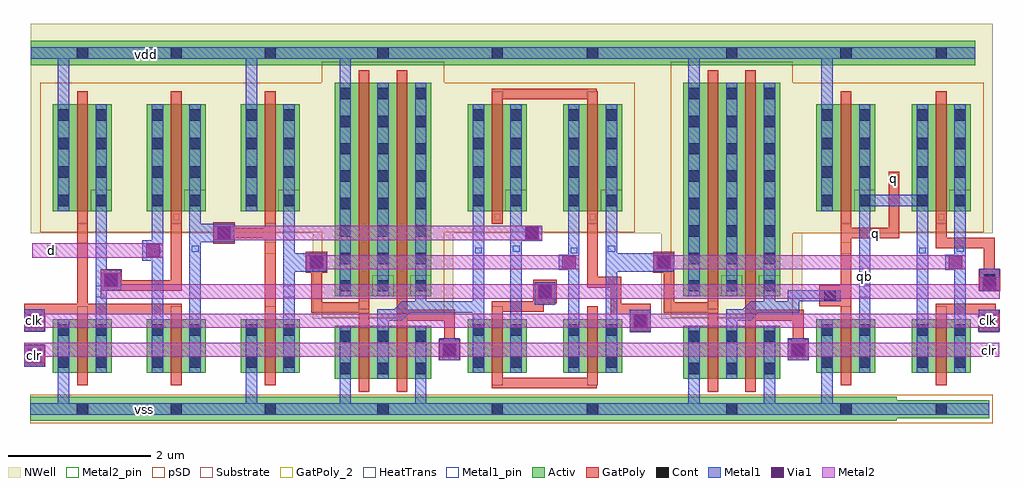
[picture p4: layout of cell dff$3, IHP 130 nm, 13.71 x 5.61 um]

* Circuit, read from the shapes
.subckt dff$3 clk clr d q qb vdd vss
XM1 transmissiongate$1$3_4/clk clk vss vss sg13_lv_nmos w=0.75u l=0.15u
XM2 inverter$1$1$3_2/in clk d vss sg13_lv_nmos w=0.75u l=0.15u
XM3 nor$4_0/b inverter$1$1$3_2/in vss vss sg13_lv_nmos w=0.75u l=0.15u
XM4 transmissiongate$2$3_5/d nor$4_0/b vss vss sg13_lv_nmos w=0.75u l=0.15u
XM5 vss clr transmissiongate$2$3_5/d vss sg13_lv_nmos w=0.75u l=0.15u
XM6 inverter$1$1$3_2/in transmissiongate$1$3_4/clk transmissiongate$2$3_5/d vss sg13_lv_nmos w=0.75u l=0.15u
XM7 nor$1$3_9/b transmissiongate$1$3_4/clk nor$4_0/b vss sg13_lv_nmos w=0.75u l=0.15u
XM8 q nor$1$3_9/b vss vss sg13_lv_nmos w=0.75u l=0.15u
XM9 vss clr q vss sg13_lv_nmos w=0.75u l=0.15u
XM10 qb q vss vss sg13_lv_nmos w=0.75u l=0.15u
XM11 nor$1$3_9/b clk qb vss sg13_lv_nmos w=0.75u l=0.15u
XM12 transmissiongate$1$3_4/clk clk vdd vdd sg13_lv_pmos w=1.5u l=0.15u
XM13 inverter$1$1$3_2/in transmissiongate$1$3_4/clk d vdd sg13_lv_pmos w=1.5u l=0.15u
XM14 nor$4_0/b inverter$1$1$3_2/in vdd vdd sg13_lv_pmos w=1.5u l=0.15u
XM15 n1 nor$4_0/b vdd vdd sg13_lv_pmos w=3u l=0.15u
XM16 transmissiongate$2$3_5/d clr n1 vdd sg13_lv_pmos w=3u l=0.15u
XM17 inverter$1$1$3_2/in clk transmissiongate$2$3_5/d vdd sg13_lv_pmos w=1.5u l=0.15u
XM18 nor$1$3_9/b clk nor$4_0/b vdd sg13_lv_pmos w=1.5u l=0.15u
XM19 n2 nor$1$3_9/b vdd vdd sg13_lv_pmos w=3u l=0.15u
XM20 q clr n2 vdd sg13_lv_pmos w=3u l=0.15u
XM21 qb q vdd vdd sg13_lv_pmos w=1.5u l=0.15u
XM22 nor$1$3_9/b transmissiongate$1$3_4/clk qb vdd sg13_lv_pmos w=1.5u l=0.15u
.ends

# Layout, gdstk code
from math import pi, radians
import gdstk
lib = gdstk.Library(unit=1e-6, precision=5e-09)
def R(c, l, rs):  # rectangles x0, y0, x1, y1
    for r in rs: c.add(gdstk.rectangle(r[:2], r[2:], *l))
def A(c, l, x, y, w, h, nx, ny, dx, dy):  # array of equal rectangles
    R(c, l, [(x+i*dx, y+j*dy, x+i*dx+w, y+j*dy+h) for i in range(nx) for j in range(ny)])
def P(c, l, *ps):  # polygons
    for p in ps: c.add(gdstk.Polygon(p, *l))
Activ = (1, 0)
GatPoly = (5, 0)
GatPoly_2 = (5, 2)
Cont = (6, 0)
Metal1 = (8, 0)
Metal1_pin = (8, 2)
Metal2 = (10, 0)
Metal2_pin = (10, 2)
pSD = (14, 0)
Via1 = (19, 0)
NWell = (31, 0)
Substrate = (40, 0)
HeatTrans = (51, 0)

pmos_1_4_3 = lib.new_cell('pmos$1$4$3')
R(pmos_1_4_3, Activ, [(0,0,0.3,0.3), (0,0,0.83,3), (0.53,0,0.83,0.3)])
R(pmos_1_4_3, GatPoly, [(0.34,-0.18,0.49,3.18), (0.34,-0.18,0.49,3.18)])
A(pmos_1_4_3, Cont, 0.07, 0.07, 0.16, 0.16, 1, 7, 0, 0.385)
A(pmos_1_4_3, Cont, 0.6, 0.07, 0.16, 0.16, 1, 7, 0, 0.385)
R(pmos_1_4_3, Cont, [(0.07,2.77,0.23,2.93), (0.6,2.77,0.76,2.93)])
R(pmos_1_4_3, Metal1, [(0.07,0,0.23,3), (0.07,0,0.23,3), (0.6,0,0.76,3), (0.6,0,0.76,3)])
R(pmos_1_4_3, pSD, [(-0.18,-0.3,1.01,3.3)])
R(pmos_1_4_3, NWell, [(-0.31,-0.31,1.14,3.31)])
R(pmos_1_4_3, Substrate, [(0.53,0,0.83,0.3)])
R(pmos_1_4_3, HeatTrans, [(0.34,-0.18,0.49,3.18)])
pmos_1_4_3.add(gdstk.Label('pmos', (0.415,1.5), layer=63, texttype=0))
pmos_1_4_3.add(gdstk.Label('pmos', (0.415,1.5), layer=51, texttype=0))

nmos_3_1_3 = lib.new_cell('nmos$3$1$3')
R(nmos_3_1_3, Activ, [(0,0,0.3,0.3), (0,0,0.83,0.75), (0.53,0,0.83,0.3)])
R(nmos_3_1_3, GatPoly, [(0.34,-0.18,0.49,0.93)])
R(nmos_3_1_3, GatPoly_2, [(0.34,-0.18,0.49,0.93)])
R(nmos_3_1_3, Cont, [(0.07,0.07,0.23,0.23), (0.6,0.07,0.76,0.23), (0.07,0.52,0.23,0.68), (0.6,0.52,0.76,0.68)])
R(nmos_3_1_3, Metal1, [(0.07,0,0.23,0.75), (0.6,0,0.76,0.75)])
R(nmos_3_1_3, Metal1_pin, [(0.07,0,0.23,0.75), (0.6,0,0.76,0.75)])
R(nmos_3_1_3, HeatTrans, [(0.34,-0.18,0.49,0.93)])
nmos_3_1_3.add(gdstk.Label('nmos', (0.415,0.375), layer=63, texttype=0))
nmos_3_1_3.add(gdstk.Label('nmos', (0.415,0.375), layer=51, texttype=0))

m1_cont1_pmos_2_3 = lib.new_cell('M1_Cont1_PMOS$2$3')
R(m1_cont1_pmos_2_3, Activ, [(-0.985,-0.175,0.995,0.165)])
R(m1_cont1_pmos_2_3, Cont, [(-0.075,-0.085,0.085,0.075)])
R(m1_cont1_pmos_2_3, Metal1, [(-0.985,-0.085,0.995,0.075)])
R(m1_cont1_pmos_2_3, Metal1_pin, [(-0.985,-0.085,0.995,0.075)])
R(m1_cont1_pmos_2_3, NWell, [(-0.985,-0.415,0.995,0.405)])

m1_bulkcont1_pmos_2_3 = lib.new_cell('M1_BulkCont1_PMOS$2$3')
r = gdstk.Reference(m1_cont1_pmos_2_3, (-0.015,-0.015)); r.repetition = gdstk.Repetition(1, 1, v1=(0,0), v2=(0,0)); m1_bulkcont1_pmos_2_3.add(r)

m1_cont1_nmos_2_3 = lib.new_cell('M1_Cont1_NMOS$2$3')
R(m1_cont1_nmos_2_3, Activ, [(-0.98,-0.175,1,0.165)])
R(m1_cont1_nmos_2_3, Cont, [(-0.07,-0.085,0.09,0.075)])
R(m1_cont1_nmos_2_3, Metal1, [(-0.98,-0.085,1,0.075)])
R(m1_cont1_nmos_2_3, Metal1_pin, [(-0.98,-0.085,1,0.075)])
R(m1_cont1_nmos_2_3, pSD, [(-0.98,-0.205,1,0.195)])

m1_bulkcont1_nmos_2_3 = lib.new_cell('M1_BulkCont1_NMOS$2$3')
r = gdstk.Reference(m1_cont1_nmos_2_3, (0.005,0.01)); r.repetition = gdstk.Repetition(1, 1, v1=(0,0), v2=(0,0)); m1_bulkcont1_nmos_2_3.add(r)

nor_4 = lib.new_cell('nor$4')
R(nor_4, GatPoly, [(0.19,-2.075,0.34,-1.165), (-0.34,-2.07,-0.19,-1.165)])
R(nor_4, GatPoly_2, [(0.19,-1.255,0.34,-1.09), (-0.34,-1.25,-0.19,-1.085)])
R(nor_4, Cont, [(-0.08,2.315,0.08,2.475)])
R(nor_4, Metal1, [(-0.08,-1.505,0.08,-1.205), (-0.08,-1.365,0.265,-1.205), (0.105,-1.365,0.265,-1.205), (0.265,-1.255,0.61,-1.095), (0.265,-1.255,0.425,-1.095), (0.45,-1.255,0.61,-0.955), (-0.61,1.515,-0.45,2.475)])
P(nor_4, Metal1, [(0.155,-1.205),(0.265,-1.095),(0.39,-1.095),(0.39,-1.205)],
  [(0.14,-1.365),(0.14,-1.255),(0.375,-1.255),(0.265,-1.365)])
R(nor_4, Metal1_pin, [(0.45,-0.955,0.61,-0.795)])
nor_4.add(gdstk.FlexPath([(-0.53,-2.035),(-0.53,-2.605),(0.53,-2.605),(0.53,-2.04)], 0.16, ends="flush", simple_path=True, layer=8, datatype=0))  # Metal1
nor_4.add(gdstk.Reference(pmos_1_4_3, (-0.68,-1.025)))
nor_4.add(gdstk.Reference(pmos_1_4_3, (-0.15,-1.025)))
nor_4.add(gdstk.Reference(nmos_3_1_3, (-0.68,-2.185)))
nor_4.add(gdstk.Reference(nmos_3_1_3, (-0.15,-2.185)))
nor_4.add(gdstk.Reference(m1_bulkcont1_pmos_2_3, (0.01,2.415)))
nor_4.add(gdstk.Reference(m1_bulkcont1_nmos_2_3, (-0.015,-2.61)))
nor_4.add(gdstk.Label('vdd', (0,2.4), layer=8, texttype=2))
nor_4.add(gdstk.Label('vss', (-0.005,-2.605), layer=8, texttype=2))
nor_4.add(gdstk.Label('out', (0.525,-0.86), layer=8, texttype=2))
nor_4.add(gdstk.Label('a', (0.26,-1.16), layer=5, texttype=2))
nor_4.add(gdstk.Label('b', (-0.275,-1.17), layer=5, texttype=2))

via_stack_1_1_3 = lib.new_cell('via_stack$1$1$3')
R(via_stack_1_1_3, Metal1, [(-0.145,-0.105,0.145,0.105)])
R(via_stack_1_1_3, Metal2, [(-0.145,-0.1,0.145,0.1)])
R(via_stack_1_1_3, Via1, [(-0.095,-0.095,0.095,0.095)])

m1_cont1_pmos_3_3 = lib.new_cell('M1_Cont1_PMOS$3$3')
R(m1_cont1_pmos_3_3, Activ, [(-0.72,-0.175,0.73,0.165)])
R(m1_cont1_pmos_3_3, Cont, [(-0.075,-0.085,0.085,0.075)])
R(m1_cont1_pmos_3_3, Metal1, [(-0.72,-0.085,0.73,0.075)])
R(m1_cont1_pmos_3_3, Metal1_pin, [(-0.72,-0.085,0.73,0.075)])
R(m1_cont1_pmos_3_3, NWell, [(-0.72,-0.415,0.73,0.405)])

m1_bulkcont1_pmos_3_3 = lib.new_cell('M1_BulkCont1_PMOS$3$3')
r = gdstk.Reference(m1_cont1_pmos_3_3, (-0.015,-0.015)); r.repetition = gdstk.Repetition(1, 1, v1=(0,0), v2=(0,0)); m1_bulkcont1_pmos_3_3.add(r)

m1_cont1_nmos_3_3 = lib.new_cell('M1_Cont1_NMOS$3$3')
R(m1_cont1_nmos_3_3, Activ, [(-0.725,-0.175,0.725,0.165)])
R(m1_cont1_nmos_3_3, Cont, [(-0.07,-0.085,0.09,0.075)])
R(m1_cont1_nmos_3_3, Metal1, [(-0.725,-0.085,0.725,0.075)])
R(m1_cont1_nmos_3_3, Metal1_pin, [(-0.725,-0.085,0.725,0.075)])
R(m1_cont1_nmos_3_3, pSD, [(-0.725,-0.205,0.725,0.195)])

m1_bulkcont1_nmos_3_3 = lib.new_cell('M1_BulkCont1_NMOS$3$3')
r = gdstk.Reference(m1_cont1_nmos_3_3, (0.005,0.01)); r.repetition = gdstk.Repetition(1, 1, v1=(0,0), v2=(0,0)); m1_bulkcont1_nmos_3_3.add(r)

nmos_2_1_3 = lib.new_cell('nmos$2$1$3')
R(nmos_2_1_3, Activ, [(0,0,0.3,0.3), (0,0,0.83,0.75), (0.53,0,0.83,0.3)])
R(nmos_2_1_3, GatPoly, [(0.34,-0.18,0.49,0.93)])
R(nmos_2_1_3, GatPoly_2, [(0.34,-0.18,0.49,0.93)])
R(nmos_2_1_3, Cont, [(0.07,0.07,0.23,0.23), (0.6,0.07,0.76,0.23), (0.07,0.52,0.23,0.68), (0.6,0.52,0.76,0.68)])
R(nmos_2_1_3, Metal1, [(0.07,0,0.23,0.75), (0.6,0,0.76,0.75)])
R(nmos_2_1_3, Metal1_pin, [(0.07,0,0.23,0.75), (0.6,0,0.76,0.75)])
R(nmos_2_1_3, HeatTrans, [(0.34,-0.18,0.49,0.93)])
nmos_2_1_3.add(gdstk.Label('nmos', (0.415,0.375), layer=63, texttype=0))
nmos_2_1_3.add(gdstk.Label('nmos', (0.415,0.375), layer=51, texttype=0))

pmos_1_6_3 = lib.new_cell('pmos$1$6$3')
R(pmos_1_6_3, Activ, [(0,0,0.3,0.3), (0,0,0.83,1.5), (0.53,0,0.83,0.3)])
R(pmos_1_6_3, GatPoly, [(0.34,-0.18,0.49,1.68), (0.34,-0.18,0.49,1.68)])
A(pmos_1_6_3, Cont, 0.07, 0.07, 0.16, 0.16, 1, 4, 0, 0.4)
A(pmos_1_6_3, Cont, 0.6, 0.07, 0.16, 0.16, 1, 4, 0, 0.4)
R(pmos_1_6_3, Metal1, [(0.07,0,0.23,1.5), (0.07,0,0.23,1.5), (0.6,0,0.76,1.5), (0.6,0,0.76,1.5)])
R(pmos_1_6_3, pSD, [(-0.18,-0.3,1.01,1.8)])
R(pmos_1_6_3, NWell, [(-0.31,-0.31,1.14,1.81)])
R(pmos_1_6_3, Substrate, [(0.53,0,0.83,0.3)])
R(pmos_1_6_3, HeatTrans, [(0.34,-0.18,0.49,1.68)])
pmos_1_6_3.add(gdstk.Label('pmos', (0.415,0.75), layer=63, texttype=0))
pmos_1_6_3.add(gdstk.Label('pmos', (0.415,0.75), layer=51, texttype=0))

inverter_1_1_3 = lib.new_cell('inverter$1$1$3')
R(inverter_1_1_3, GatPoly, [(-0.075,-1.72,0.075,0.805)])
R(inverter_1_1_3, GatPoly_2, [(-0.075,-0.425,0.075,-0.26)])
R(inverter_1_1_3, Cont, [(-0.08,-2.685,0.08,-2.525), (-0.08,2.315,0.08,2.475)])
R(inverter_1_1_3, Metal1, [(-0.345,-2.685,-0.185,-1.72), (0.185,-1.72,0.345,0.805), (-0.345,1.37,-0.185,2.475)])
R(inverter_1_1_3, Metal1_pin, [(-0.08,-2.685,0.08,-2.525), (0.185,-1.035,0.345,-0.875), (-0.08,2.315,0.08,2.475)])
inverter_1_1_3.add(gdstk.Reference(m1_bulkcont1_pmos_3_3, (0.01,2.415)))
inverter_1_1_3.add(gdstk.Reference(m1_bulkcont1_nmos_3_3, (-0.015,-2.61)))
inverter_1_1_3.add(gdstk.Reference(nmos_2_1_3, (-0.415,-2.095)))
inverter_1_1_3.add(gdstk.Reference(pmos_1_6_3, (-0.415,0.175)))
inverter_1_1_3.add(gdstk.Label('vdd', (-0.015,2.39), layer=8, texttype=2))
inverter_1_1_3.add(gdstk.Label('vss', (-0.01,-2.62), layer=8, texttype=2))
inverter_1_1_3.add(gdstk.Label('out', (0.27,-0.95), layer=8, texttype=2))
inverter_1_1_3.add(gdstk.Label('in', (-0.025,-0.34), layer=5, texttype=2))

pmos_1_7_4 = lib.new_cell('pmos$1$7$4')
R(pmos_1_7_4, Activ, [(0,0,0.3,0.3), (0,0,0.83,1.5), (0.53,0,0.83,0.3)])
R(pmos_1_7_4, GatPoly, [(0.34,-0.18,0.49,1.68), (0.34,-0.18,0.49,1.68)])
A(pmos_1_7_4, Cont, 0.07, 0.07, 0.16, 0.16, 1, 4, 0, 0.4)
A(pmos_1_7_4, Cont, 0.6, 0.07, 0.16, 0.16, 1, 4, 0, 0.4)
R(pmos_1_7_4, Metal1, [(0.07,0,0.23,1.5), (0.07,0,0.23,1.5), (0.6,0,0.76,1.5), (0.6,0,0.76,1.5)])
R(pmos_1_7_4, pSD, [(-0.18,-0.3,1.01,1.8)])
R(pmos_1_7_4, NWell, [(-0.31,-0.31,1.14,1.81)])
R(pmos_1_7_4, Substrate, [(0.53,0,0.83,0.3)])
R(pmos_1_7_4, HeatTrans, [(0.34,-0.18,0.49,1.68)])
pmos_1_7_4.add(gdstk.Label('pmos', (0.415,0.75), layer=63, texttype=0))
pmos_1_7_4.add(gdstk.Label('pmos', (0.415,0.75), layer=51, texttype=0))

nmos_1_2_4 = lib.new_cell('nmos$1$2$4')
R(nmos_1_2_4, Activ, [(0,0,0.3,0.3), (0,0,0.83,0.75), (0.53,0,0.83,0.3)])
R(nmos_1_2_4, GatPoly, [(0.34,-0.18,0.49,0.93)])
R(nmos_1_2_4, GatPoly_2, [(0.34,-0.18,0.49,0.93)])
R(nmos_1_2_4, Cont, [(0.07,0.07,0.23,0.23), (0.6,0.07,0.76,0.23), (0.07,0.52,0.23,0.68), (0.6,0.52,0.76,0.68)])
R(nmos_1_2_4, Metal1, [(0.07,0,0.23,0.75), (0.6,0,0.76,0.75)])
R(nmos_1_2_4, Metal1_pin, [(0.07,0,0.23,0.75), (0.6,0,0.76,0.75)])
R(nmos_1_2_4, HeatTrans, [(0.34,-0.18,0.49,0.93)])
nmos_1_2_4.add(gdstk.Label('nmos', (0.415,0.375), layer=63, texttype=0))
nmos_1_2_4.add(gdstk.Label('nmos', (0.415,0.375), layer=51, texttype=0))

transmissiongate_6 = lib.new_cell('transmissiongate$6')
R(transmissiongate_6, Activ, [(-0.85,-2.775,0.6,-2.435), (-0.85,2.225,0.6,2.565)])
R(transmissiongate_6, GatPoly_2, [(-0.165,-1.29,-0.08,-1.205), (-0.165,0.045,-0.08,0.135)])
R(transmissiongate_6, Cont, [(-0.205,-2.685,-0.045,-2.525), (-0.205,2.315,-0.045,2.475)])
R(transmissiongate_6, Metal1, [(-0.85,-2.685,0.6,-2.525), (-0.47,-1.645,-0.31,0.4), (0.06,-1.645,0.22,0.41), (-0.85,2.315,0.6,2.475)])
R(transmissiongate_6, Metal1_pin, [(-0.85,-2.685,0.6,-2.525), (-0.435,-0.42,-0.34,-0.34), (0.09,-0.395,0.19,-0.31), (-0.85,2.315,0.6,2.475)])
R(transmissiongate_6, pSD, [(-0.85,-2.805,0.6,-2.405)])
R(transmissiongate_6, NWell, [(-0.85,1.985,0.6,2.805)])
transmissiongate_6.add(gdstk.Reference(pmos_1_7_4, (-0.54,0.175)))
transmissiongate_6.add(gdstk.Reference(nmos_1_2_4, (0.29,-1.345), rotation=pi))
transmissiongate_6.add(gdstk.Label('vdd', (-0.125,2.395), layer=6, texttype=0))
transmissiongate_6.add(gdstk.Label('out', (0.125,-0.365), layer=8, texttype=2))
transmissiongate_6.add(gdstk.Label('d', (-0.41,-0.38), layer=8, texttype=2))
transmissiongate_6.add(gdstk.Label('vss', (-0.125,-2.615), layer=8, texttype=2))
transmissiongate_6.add(gdstk.Label('clk_b', (-0.145,0.1), layer=5, texttype=2))
transmissiongate_6.add(gdstk.Label('clk', (-0.145,-1.245), layer=5, texttype=2))

pmos_1_7_1_3 = lib.new_cell('pmos$1$7$1$3')
R(pmos_1_7_1_3, Activ, [(0,0,0.3,0.3), (0,0,0.83,1.5), (0.53,0,0.83,0.3)])
R(pmos_1_7_1_3, GatPoly, [(0.34,-0.18,0.49,1.68), (0.34,-0.18,0.49,1.68)])
A(pmos_1_7_1_3, Cont, 0.07, 0.07, 0.16, 0.16, 1, 4, 0, 0.4)
A(pmos_1_7_1_3, Cont, 0.6, 0.07, 0.16, 0.16, 1, 4, 0, 0.4)
R(pmos_1_7_1_3, Metal1, [(0.07,0,0.23,1.5), (0.07,0,0.23,1.5), (0.6,0,0.76,1.5), (0.6,0,0.76,1.5)])
R(pmos_1_7_1_3, pSD, [(-0.18,-0.3,1.01,1.8)])
R(pmos_1_7_1_3, NWell, [(-0.31,-0.31,1.14,1.81)])
R(pmos_1_7_1_3, Substrate, [(0.53,0,0.83,0.3)])
R(pmos_1_7_1_3, HeatTrans, [(0.34,-0.18,0.49,1.68)])
pmos_1_7_1_3.add(gdstk.Label('pmos', (0.415,0.75), layer=63, texttype=0))
pmos_1_7_1_3.add(gdstk.Label('pmos', (0.415,0.75), layer=51, texttype=0))

nmos_1_1_1_3 = lib.new_cell('nmos$1$1$1$3')
R(nmos_1_1_1_3, Activ, [(0,0,0.3,0.3), (0,0,0.83,0.75), (0.53,0,0.83,0.3)])
R(nmos_1_1_1_3, GatPoly, [(0.34,-0.18,0.49,0.93)])
R(nmos_1_1_1_3, GatPoly_2, [(0.34,-0.18,0.49,0.93)])
R(nmos_1_1_1_3, Cont, [(0.07,0.07,0.23,0.23), (0.6,0.07,0.76,0.23), (0.07,0.52,0.23,0.68), (0.6,0.52,0.76,0.68)])
R(nmos_1_1_1_3, Metal1, [(0.07,0,0.23,0.75), (0.6,0,0.76,0.75)])
R(nmos_1_1_1_3, Metal1_pin, [(0.07,0,0.23,0.75), (0.6,0,0.76,0.75)])
R(nmos_1_1_1_3, HeatTrans, [(0.34,-0.18,0.49,0.93)])
nmos_1_1_1_3.add(gdstk.Label('nmos', (0.415,0.375), layer=63, texttype=0))
nmos_1_1_1_3.add(gdstk.Label('nmos', (0.415,0.375), layer=51, texttype=0))

transmissiongate_1_3 = lib.new_cell('transmissiongate$1$3')
R(transmissiongate_1_3, Activ, [(-0.85,-2.74,0.6,-2.485), (-0.85,2.225,0.6,2.565)])
R(transmissiongate_1_3, GatPoly_2, [(-0.165,-1.29,-0.08,-1.205), (-0.165,0.045,-0.08,0.135)])
R(transmissiongate_1_3, Cont, [(-0.205,-2.685,-0.045,-2.525), (-0.205,2.315,-0.045,2.475)])
R(transmissiongate_1_3, Metal1, [(-0.85,-2.685,0.6,-2.525), (-0.47,-1.645,-0.31,0.4), (0.06,-1.645,0.22,0.41), (-0.85,2.315,0.6,2.475)])
R(transmissiongate_1_3, Metal1_pin, [(-0.85,-2.685,0.6,-2.525), (-0.435,-0.42,-0.34,-0.34), (0.09,-0.395,0.19,-0.31), (-0.85,2.315,0.6,2.475)])
R(transmissiongate_1_3, pSD, [(-0.85,-2.805,0.6,-2.405)])
R(transmissiongate_1_3, NWell, [(-0.85,1.985,0.6,2.805)])
transmissiongate_1_3.add(gdstk.Reference(pmos_1_7_1_3, (-0.54,0.175)))
transmissiongate_1_3.add(gdstk.Reference(nmos_1_1_1_3, (0.29,-1.345), rotation=pi))
transmissiongate_1_3.add(gdstk.Label('vdd', (-0.125,2.395), layer=6, texttype=0))
transmissiongate_1_3.add(gdstk.Label('out', (0.125,-0.365), layer=8, texttype=2))
transmissiongate_1_3.add(gdstk.Label('d', (-0.41,-0.38), layer=8, texttype=2))
transmissiongate_1_3.add(gdstk.Label('vss', (-0.125,-2.615), layer=8, texttype=2))
transmissiongate_1_3.add(gdstk.Label('clk_b', (-0.145,0.1), layer=5, texttype=2))
transmissiongate_1_3.add(gdstk.Label('clk', (-0.145,-1.245), layer=5, texttype=2))

pmos_1_8_3 = lib.new_cell('pmos$1$8$3')
R(pmos_1_8_3, Activ, [(0,0,0.3,0.3), (0,0,0.83,1.5), (0.53,0,0.83,0.3)])
R(pmos_1_8_3, GatPoly, [(0.34,-0.18,0.49,1.68), (0.34,-0.18,0.49,1.68)])
A(pmos_1_8_3, Cont, 0.07, 0.07, 0.16, 0.16, 1, 4, 0, 0.4)
A(pmos_1_8_3, Cont, 0.6, 0.07, 0.16, 0.16, 1, 4, 0, 0.4)
R(pmos_1_8_3, Metal1, [(0.07,0,0.23,1.5), (0.07,0,0.23,1.5), (0.6,0,0.76,1.5), (0.6,0,0.76,1.5)])
R(pmos_1_8_3, pSD, [(-0.18,-0.3,1.01,1.8)])
R(pmos_1_8_3, NWell, [(-0.31,-0.31,1.14,1.81)])
R(pmos_1_8_3, Substrate, [(0.53,0,0.83,0.3)])
R(pmos_1_8_3, HeatTrans, [(0.34,-0.18,0.49,1.68)])
pmos_1_8_3.add(gdstk.Label('pmos', (0.415,0.75), layer=63, texttype=0))
pmos_1_8_3.add(gdstk.Label('pmos', (0.415,0.75), layer=51, texttype=0))

nmos_1_2_1_3 = lib.new_cell('nmos$1$2$1$3')
R(nmos_1_2_1_3, Activ, [(0,0,0.3,0.3), (0,0,0.83,0.75), (0.53,0,0.83,0.3)])
R(nmos_1_2_1_3, GatPoly, [(0.34,-0.18,0.49,0.93)])
R(nmos_1_2_1_3, GatPoly_2, [(0.34,-0.18,0.49,0.93)])
R(nmos_1_2_1_3, Cont, [(0.07,0.07,0.23,0.23), (0.6,0.07,0.76,0.23), (0.07,0.52,0.23,0.68), (0.6,0.52,0.76,0.68)])
R(nmos_1_2_1_3, Metal1, [(0.07,0,0.23,0.75), (0.6,0,0.76,0.75)])
R(nmos_1_2_1_3, Metal1_pin, [(0.07,0,0.23,0.75), (0.6,0,0.76,0.75)])
R(nmos_1_2_1_3, HeatTrans, [(0.34,-0.18,0.49,0.93)])
nmos_1_2_1_3.add(gdstk.Label('nmos', (0.415,0.375), layer=63, texttype=0))
nmos_1_2_1_3.add(gdstk.Label('nmos', (0.415,0.375), layer=51, texttype=0))

transmissiongate_2_3 = lib.new_cell('transmissiongate$2$3')
R(transmissiongate_2_3, Activ, [(-0.85,-2.74,0.6,-2.485), (-0.85,2.225,0.6,2.565)])
R(transmissiongate_2_3, GatPoly_2, [(-0.165,-1.29,-0.08,-1.205), (-0.165,0.045,-0.08,0.135)])
R(transmissiongate_2_3, Cont, [(-0.205,-2.685,-0.045,-2.525), (-0.205,2.315,-0.045,2.475)])
R(transmissiongate_2_3, Metal1, [(-0.85,-2.685,0.6,-2.525), (-0.47,-1.645,-0.31,0.4), (0.06,-1.645,0.22,0.41), (-0.85,2.315,0.6,2.475)])
R(transmissiongate_2_3, Metal1_pin, [(-0.85,-2.685,0.6,-2.525), (-0.435,-0.42,-0.34,-0.34), (0.09,-0.395,0.19,-0.31), (-0.85,2.315,0.6,2.475)])
R(transmissiongate_2_3, pSD, [(-0.85,-2.805,0.6,-2.405)])
R(transmissiongate_2_3, NWell, [(-0.85,1.985,0.6,2.805)])
transmissiongate_2_3.add(gdstk.Reference(pmos_1_8_3, (-0.54,0.175)))
transmissiongate_2_3.add(gdstk.Reference(nmos_1_2_1_3, (0.29,-1.345), rotation=pi))
transmissiongate_2_3.add(gdstk.Label('vdd', (-0.125,2.395), layer=6, texttype=0))
transmissiongate_2_3.add(gdstk.Label('out', (0.125,-0.365), layer=8, texttype=2))
transmissiongate_2_3.add(gdstk.Label('d', (-0.41,-0.38), layer=8, texttype=2))
transmissiongate_2_3.add(gdstk.Label('vss', (-0.125,-2.615), layer=8, texttype=2))
transmissiongate_2_3.add(gdstk.Label('clk_b', (-0.145,0.1), layer=5, texttype=2))
transmissiongate_2_3.add(gdstk.Label('clk', (-0.145,-1.245), layer=5, texttype=2))

pmos_1_9_3 = lib.new_cell('pmos$1$9$3')
R(pmos_1_9_3, Activ, [(0,0,0.3,0.3), (0,0,0.83,3), (0.53,0,0.83,0.3)])
R(pmos_1_9_3, GatPoly, [(0.34,-0.18,0.49,3.18), (0.34,-0.18,0.49,3.18)])
A(pmos_1_9_3, Cont, 0.07, 0.07, 0.16, 0.16, 1, 7, 0, 0.385)
A(pmos_1_9_3, Cont, 0.6, 0.07, 0.16, 0.16, 1, 7, 0, 0.385)
R(pmos_1_9_3, Cont, [(0.07,2.77,0.23,2.93), (0.6,2.77,0.76,2.93)])
R(pmos_1_9_3, Metal1, [(0.07,0,0.23,3), (0.07,0,0.23,3), (0.6,0,0.76,3), (0.6,0,0.76,3)])
R(pmos_1_9_3, pSD, [(-0.18,-0.3,1.01,3.3)])
R(pmos_1_9_3, NWell, [(-0.31,-0.31,1.14,3.31)])
R(pmos_1_9_3, Substrate, [(0.53,0,0.83,0.3)])
R(pmos_1_9_3, HeatTrans, [(0.34,-0.18,0.49,3.18)])
pmos_1_9_3.add(gdstk.Label('pmos', (0.415,1.5), layer=63, texttype=0))
pmos_1_9_3.add(gdstk.Label('pmos', (0.415,1.5), layer=51, texttype=0))

nmos_4_3 = lib.new_cell('nmos$4$3')
R(nmos_4_3, Activ, [(0,0,0.3,0.3), (0,0,0.83,0.75), (0.53,0,0.83,0.3)])
R(nmos_4_3, GatPoly, [(0.34,-0.18,0.49,0.93)])
R(nmos_4_3, GatPoly_2, [(0.34,-0.18,0.49,0.93)])
R(nmos_4_3, Cont, [(0.07,0.07,0.23,0.23), (0.6,0.07,0.76,0.23), (0.07,0.52,0.23,0.68), (0.6,0.52,0.76,0.68)])
R(nmos_4_3, Metal1, [(0.07,0,0.23,0.75), (0.6,0,0.76,0.75)])
R(nmos_4_3, Metal1_pin, [(0.07,0,0.23,0.75), (0.6,0,0.76,0.75)])
R(nmos_4_3, HeatTrans, [(0.34,-0.18,0.49,0.93)])
nmos_4_3.add(gdstk.Label('nmos', (0.415,0.375), layer=63, texttype=0))
nmos_4_3.add(gdstk.Label('nmos', (0.415,0.375), layer=51, texttype=0))

m1_cont1_pmos_4_3 = lib.new_cell('M1_Cont1_PMOS$4$3')
R(m1_cont1_pmos_4_3, Activ, [(-0.985,-0.175,0.995,0.165)])
R(m1_cont1_pmos_4_3, Cont, [(-0.075,-0.085,0.085,0.075)])
R(m1_cont1_pmos_4_3, Metal1, [(-0.985,-0.085,0.995,0.075)])
R(m1_cont1_pmos_4_3, Metal1_pin, [(-0.985,-0.085,0.995,0.075)])
R(m1_cont1_pmos_4_3, NWell, [(-0.985,-0.415,0.995,0.405)])

m1_bulkcont1_pmos_4_3 = lib.new_cell('M1_BulkCont1_PMOS$4$3')
r = gdstk.Reference(m1_cont1_pmos_4_3, (-0.015,-0.015)); r.repetition = gdstk.Repetition(1, 1, v1=(0,0), v2=(0,0)); m1_bulkcont1_pmos_4_3.add(r)

m1_cont1_nmos_4_3 = lib.new_cell('M1_Cont1_NMOS$4$3')
R(m1_cont1_nmos_4_3, Activ, [(-0.98,-0.175,1,0.165)])
R(m1_cont1_nmos_4_3, Cont, [(-0.07,-0.085,0.09,0.075)])
R(m1_cont1_nmos_4_3, Metal1, [(-0.98,-0.085,1,0.075)])
R(m1_cont1_nmos_4_3, Metal1_pin, [(-0.98,-0.085,1,0.075)])
R(m1_cont1_nmos_4_3, pSD, [(-0.98,-0.205,1,0.195)])

m1_bulkcont1_nmos_4_3 = lib.new_cell('M1_BulkCont1_NMOS$4$3')
r = gdstk.Reference(m1_cont1_nmos_4_3, (0.005,0.01)); r.repetition = gdstk.Repetition(1, 1, v1=(0,0), v2=(0,0)); m1_bulkcont1_nmos_4_3.add(r)

nor_1_3 = lib.new_cell('nor$1$3')
R(nor_1_3, GatPoly, [(0.19,-2.075,0.34,-1.165), (-0.34,-2.07,-0.19,-1.165)])
R(nor_1_3, GatPoly_2, [(0.19,-1.255,0.34,-1.09), (-0.34,-1.25,-0.19,-1.085)])
R(nor_1_3, Cont, [(-0.08,2.315,0.08,2.475)])
R(nor_1_3, Metal1, [(-0.08,-1.505,0.08,-1.205), (-0.08,-1.365,0.265,-1.205), (0.105,-1.365,0.265,-1.205), (0.265,-1.255,0.61,-1.095), (0.265,-1.255,0.425,-1.095), (0.45,-1.255,0.61,-0.955), (-0.61,1.515,-0.45,2.475)])
P(nor_1_3, Metal1, [(0.155,-1.205),(0.265,-1.095),(0.39,-1.095),(0.39,-1.205)],
  [(0.14,-1.365),(0.14,-1.255),(0.375,-1.255),(0.265,-1.365)])
R(nor_1_3, Metal1_pin, [(0.45,-0.955,0.61,-0.795)])
nor_1_3.add(gdstk.FlexPath([(-0.53,-2.035),(-0.53,-2.605),(0.53,-2.605),(0.53,-2.04)], 0.16, ends="flush", simple_path=True, layer=8, datatype=0))  # Metal1
nor_1_3.add(gdstk.Reference(pmos_1_9_3, (-0.68,-1.025)))
nor_1_3.add(gdstk.Reference(pmos_1_9_3, (-0.15,-1.025)))
nor_1_3.add(gdstk.Reference(nmos_4_3, (-0.68,-2.185)))
nor_1_3.add(gdstk.Reference(nmos_4_3, (-0.15,-2.185)))
nor_1_3.add(gdstk.Reference(m1_bulkcont1_pmos_4_3, (0.01,2.415)))
nor_1_3.add(gdstk.Reference(m1_bulkcont1_nmos_4_3, (-0.015,-2.61)))
nor_1_3.add(gdstk.Label('vdd', (0,2.4), layer=8, texttype=2))
nor_1_3.add(gdstk.Label('vss', (-0.005,-2.605), layer=8, texttype=2))
nor_1_3.add(gdstk.Label('out', (0.525,-0.86), layer=8, texttype=2))
nor_1_3.add(gdstk.Label('a', (0.26,-1.16), layer=5, texttype=2))
nor_1_3.add(gdstk.Label('b', (-0.275,-1.17), layer=5, texttype=2))

m1_cont1_pmos_5_3 = lib.new_cell('M1_Cont1_PMOS$5$3')
R(m1_cont1_pmos_5_3, Activ, [(-0.72,-0.175,0.73,0.165)])
R(m1_cont1_pmos_5_3, Cont, [(-0.075,-0.085,0.085,0.075)])
R(m1_cont1_pmos_5_3, Metal1, [(-0.72,-0.085,0.73,0.075)])
R(m1_cont1_pmos_5_3, Metal1_pin, [(-0.72,-0.085,0.73,0.075)])
R(m1_cont1_pmos_5_3, NWell, [(-0.72,-0.415,0.73,0.405)])

m1_bulkcont1_pmos_5_3 = lib.new_cell('M1_BulkCont1_PMOS$5$3')
r = gdstk.Reference(m1_cont1_pmos_5_3, (-0.015,-0.015)); r.repetition = gdstk.Repetition(1, 1, v1=(0,0), v2=(0,0)); m1_bulkcont1_pmos_5_3.add(r)

m1_cont1_nmos_5_3 = lib.new_cell('M1_Cont1_NMOS$5$3')
R(m1_cont1_nmos_5_3, Activ, [(-0.725,-0.175,0.725,0.165)])
R(m1_cont1_nmos_5_3, Cont, [(-0.07,-0.085,0.09,0.075)])
R(m1_cont1_nmos_5_3, Metal1, [(-0.725,-0.085,0.725,0.075)])
R(m1_cont1_nmos_5_3, Metal1_pin, [(-0.725,-0.085,0.725,0.075)])
R(m1_cont1_nmos_5_3, pSD, [(-0.725,-0.205,0.725,0.195)])

m1_bulkcont1_nmos_5_3 = lib.new_cell('M1_BulkCont1_NMOS$5$3')
r = gdstk.Reference(m1_cont1_nmos_5_3, (0.005,0.01)); r.repetition = gdstk.Repetition(1, 1, v1=(0,0), v2=(0,0)); m1_bulkcont1_nmos_5_3.add(r)

nmos_5_3 = lib.new_cell('nmos$5$3')
R(nmos_5_3, Activ, [(0,0,0.3,0.3), (0,0,0.83,0.75), (0.53,0,0.83,0.3)])
R(nmos_5_3, GatPoly, [(0.34,-0.18,0.49,0.93)])
R(nmos_5_3, GatPoly_2, [(0.34,-0.18,0.49,0.93)])
R(nmos_5_3, Cont, [(0.07,0.07,0.23,0.23), (0.6,0.07,0.76,0.23), (0.07,0.52,0.23,0.68), (0.6,0.52,0.76,0.68)])
R(nmos_5_3, Metal1, [(0.07,0,0.23,0.75), (0.6,0,0.76,0.75)])
R(nmos_5_3, Metal1_pin, [(0.07,0,0.23,0.75), (0.6,0,0.76,0.75)])
R(nmos_5_3, HeatTrans, [(0.34,-0.18,0.49,0.93)])
nmos_5_3.add(gdstk.Label('nmos', (0.415,0.375), layer=63, texttype=0))
nmos_5_3.add(gdstk.Label('nmos', (0.415,0.375), layer=51, texttype=0))

pmos_1_10_3 = lib.new_cell('pmos$1$10$3')
R(pmos_1_10_3, Activ, [(0,0,0.3,0.3), (0,0,0.83,1.5), (0.53,0,0.83,0.3)])
R(pmos_1_10_3, GatPoly, [(0.34,-0.18,0.49,1.68), (0.34,-0.18,0.49,1.68)])
A(pmos_1_10_3, Cont, 0.07, 0.07, 0.16, 0.16, 1, 4, 0, 0.4)
A(pmos_1_10_3, Cont, 0.6, 0.07, 0.16, 0.16, 1, 4, 0, 0.4)
R(pmos_1_10_3, Metal1, [(0.07,0,0.23,1.5), (0.07,0,0.23,1.5), (0.6,0,0.76,1.5), (0.6,0,0.76,1.5)])
R(pmos_1_10_3, pSD, [(-0.18,-0.3,1.01,1.8)])
R(pmos_1_10_3, NWell, [(-0.31,-0.31,1.14,1.81)])
R(pmos_1_10_3, Substrate, [(0.53,0,0.83,0.3)])
R(pmos_1_10_3, HeatTrans, [(0.34,-0.18,0.49,1.68)])
pmos_1_10_3.add(gdstk.Label('pmos', (0.415,0.75), layer=63, texttype=0))
pmos_1_10_3.add(gdstk.Label('pmos', (0.415,0.75), layer=51, texttype=0))

inverter_2_1_3 = lib.new_cell('inverter$2$1$3')
R(inverter_2_1_3, GatPoly, [(-0.075,-1.72,0.075,0.805)])
R(inverter_2_1_3, GatPoly_2, [(-0.075,-0.425,0.075,-0.26)])
R(inverter_2_1_3, Cont, [(-0.08,-2.685,0.08,-2.525), (-0.08,2.315,0.08,2.475)])
R(inverter_2_1_3, Metal1, [(-0.345,-2.685,-0.185,-1.72), (0.185,-1.72,0.345,0.805), (-0.345,1.37,-0.185,2.475)])
R(inverter_2_1_3, Metal1_pin, [(-0.08,-2.685,0.08,-2.525), (0.185,-1.035,0.345,-0.875), (-0.08,2.315,0.08,2.475)])
inverter_2_1_3.add(gdstk.Reference(m1_bulkcont1_pmos_5_3, (0.01,2.415)))
inverter_2_1_3.add(gdstk.Reference(m1_bulkcont1_nmos_5_3, (-0.015,-2.61)))
inverter_2_1_3.add(gdstk.Reference(nmos_5_3, (-0.415,-2.095)))
inverter_2_1_3.add(gdstk.Reference(pmos_1_10_3, (-0.415,0.175)))
inverter_2_1_3.add(gdstk.Label('vdd', (-0.015,2.39), layer=8, texttype=2))
inverter_2_1_3.add(gdstk.Label('vss', (-0.01,-2.62), layer=8, texttype=2))
inverter_2_1_3.add(gdstk.Label('out', (0.27,-0.95), layer=8, texttype=2))
inverter_2_1_3.add(gdstk.Label('in', (-0.025,-0.34), layer=5, texttype=2))

pmos_1_11_3 = lib.new_cell('pmos$1$11$3')
R(pmos_1_11_3, Activ, [(0,0,0.3,0.3), (0,0,0.83,1.5), (0.53,0,0.83,0.3)])
R(pmos_1_11_3, GatPoly, [(0.34,-0.18,0.49,1.68), (0.34,-0.18,0.49,1.68)])
A(pmos_1_11_3, Cont, 0.07, 0.07, 0.16, 0.16, 1, 4, 0, 0.4)
A(pmos_1_11_3, Cont, 0.6, 0.07, 0.16, 0.16, 1, 4, 0, 0.4)
R(pmos_1_11_3, Metal1, [(0.07,0,0.23,1.5), (0.07,0,0.23,1.5), (0.6,0,0.76,1.5), (0.6,0,0.76,1.5)])
R(pmos_1_11_3, pSD, [(-0.18,-0.3,1.01,1.8)])
R(pmos_1_11_3, NWell, [(-0.31,-0.31,1.14,1.81)])
R(pmos_1_11_3, Substrate, [(0.53,0,0.83,0.3)])
R(pmos_1_11_3, HeatTrans, [(0.34,-0.18,0.49,1.68)])
pmos_1_11_3.add(gdstk.Label('pmos', (0.415,0.75), layer=63, texttype=0))
pmos_1_11_3.add(gdstk.Label('pmos', (0.415,0.75), layer=51, texttype=0))

nmos_1_3_3 = lib.new_cell('nmos$1$3$3')
R(nmos_1_3_3, Activ, [(0,0,0.3,0.3), (0,0,0.83,0.75), (0.53,0,0.83,0.3)])
R(nmos_1_3_3, GatPoly, [(0.34,-0.18,0.49,0.93)])
R(nmos_1_3_3, GatPoly_2, [(0.34,-0.18,0.49,0.93)])
R(nmos_1_3_3, Cont, [(0.07,0.07,0.23,0.23), (0.6,0.07,0.76,0.23), (0.07,0.52,0.23,0.68), (0.6,0.52,0.76,0.68)])
R(nmos_1_3_3, Metal1, [(0.07,0,0.23,0.75), (0.6,0,0.76,0.75)])
R(nmos_1_3_3, Metal1_pin, [(0.07,0,0.23,0.75), (0.6,0,0.76,0.75)])
R(nmos_1_3_3, HeatTrans, [(0.34,-0.18,0.49,0.93)])
nmos_1_3_3.add(gdstk.Label('nmos', (0.415,0.375), layer=63, texttype=0))
nmos_1_3_3.add(gdstk.Label('nmos', (0.415,0.375), layer=51, texttype=0))

transmissiongate_3_3 = lib.new_cell('transmissiongate$3$3')
R(transmissiongate_3_3, Activ, [(-0.85,-2.74,0.55,-2.485), (-0.85,2.225,0.35,2.565)])
R(transmissiongate_3_3, GatPoly_2, [(-0.165,-1.29,-0.08,-1.205), (-0.165,0.045,-0.08,0.135)])
R(transmissiongate_3_3, Cont, [(-0.205,-2.685,-0.045,-2.525), (-0.205,2.315,-0.045,2.475)])
R(transmissiongate_3_3, Metal1, [(-0.85,-2.685,0.55,-2.525), (-0.47,-1.645,-0.31,0.4), (0.06,-1.645,0.22,0.41), (-0.85,2.315,0.35,2.475)])
R(transmissiongate_3_3, Metal1_pin, [(-0.85,-2.685,0.55,-2.525), (-0.435,-0.42,-0.34,-0.34), (0.09,-0.395,0.19,-0.31), (-0.85,2.315,0.35,2.475)])
R(transmissiongate_3_3, pSD, [(-0.85,-2.805,0.6,-2.405)])
R(transmissiongate_3_3, NWell, [(-0.85,1.985,0.6,2.805)])
transmissiongate_3_3.add(gdstk.Reference(pmos_1_11_3, (-0.54,0.175)))
transmissiongate_3_3.add(gdstk.Reference(nmos_1_3_3, (0.29,-1.345), rotation=pi))
transmissiongate_3_3.add(gdstk.Label('vdd', (-0.125,2.395), layer=6, texttype=0))
transmissiongate_3_3.add(gdstk.Label('out', (0.125,-0.365), layer=8, texttype=2))
transmissiongate_3_3.add(gdstk.Label('d', (-0.41,-0.38), layer=8, texttype=2))
transmissiongate_3_3.add(gdstk.Label('vss', (-0.125,-2.615), layer=8, texttype=2))
transmissiongate_3_3.add(gdstk.Label('clk_b', (-0.145,0.1), layer=5, texttype=2))
transmissiongate_3_3.add(gdstk.Label('clk', (-0.145,-1.245), layer=5, texttype=2))

m1_cont1_pmos_6_3 = lib.new_cell('M1_Cont1_PMOS$6$3')
R(m1_cont1_pmos_6_3, Activ, [(-0.72,-0.175,0.73,0.165)])
R(m1_cont1_pmos_6_3, Cont, [(-0.075,-0.085,0.085,0.075)])
R(m1_cont1_pmos_6_3, Metal1, [(-0.72,-0.085,0.73,0.075)])
R(m1_cont1_pmos_6_3, Metal1_pin, [(-0.72,-0.085,0.73,0.075)])
R(m1_cont1_pmos_6_3, NWell, [(-0.72,-0.415,0.73,0.405)])

m1_bulkcont1_pmos_6_3 = lib.new_cell('M1_BulkCont1_PMOS$6$3')
r = gdstk.Reference(m1_cont1_pmos_6_3, (-0.015,-0.015)); r.repetition = gdstk.Repetition(1, 1, v1=(0,0), v2=(0,0)); m1_bulkcont1_pmos_6_3.add(r)

m1_cont1_nmos_6_3 = lib.new_cell('M1_Cont1_NMOS$6$3')
R(m1_cont1_nmos_6_3, Activ, [(-0.725,-0.175,0.725,0.165)])
R(m1_cont1_nmos_6_3, Cont, [(-0.07,-0.085,0.09,0.075)])
R(m1_cont1_nmos_6_3, Metal1, [(-0.725,-0.085,0.725,0.075)])
R(m1_cont1_nmos_6_3, Metal1_pin, [(-0.725,-0.085,0.725,0.075)])
R(m1_cont1_nmos_6_3, pSD, [(-0.725,-0.205,0.725,0.195)])

m1_bulkcont1_nmos_6_3 = lib.new_cell('M1_BulkCont1_NMOS$6$3')
r = gdstk.Reference(m1_cont1_nmos_6_3, (0.005,0.01)); r.repetition = gdstk.Repetition(1, 1, v1=(0,0), v2=(0,0)); m1_bulkcont1_nmos_6_3.add(r)

nmos_6_3 = lib.new_cell('nmos$6$3')
R(nmos_6_3, Activ, [(0,0,0.3,0.3), (0,0,0.83,0.75), (0.53,0,0.83,0.3)])
R(nmos_6_3, GatPoly, [(0.34,-0.18,0.49,0.93)])
R(nmos_6_3, GatPoly_2, [(0.34,-0.18,0.49,0.93)])
R(nmos_6_3, Cont, [(0.07,0.07,0.23,0.23), (0.6,0.07,0.76,0.23), (0.07,0.52,0.23,0.68), (0.6,0.52,0.76,0.68)])
R(nmos_6_3, Metal1, [(0.07,0,0.23,0.75), (0.6,0,0.76,0.75)])
R(nmos_6_3, Metal1_pin, [(0.07,0,0.23,0.75), (0.6,0,0.76,0.75)])
R(nmos_6_3, HeatTrans, [(0.34,-0.18,0.49,0.93)])
nmos_6_3.add(gdstk.Label('nmos', (0.415,0.375), layer=63, texttype=0))
nmos_6_3.add(gdstk.Label('nmos', (0.415,0.375), layer=51, texttype=0))

pmos_1_12_3 = lib.new_cell('pmos$1$12$3')
R(pmos_1_12_3, Activ, [(0,0,0.3,0.3), (0,0,0.83,1.5), (0.53,0,0.83,0.3)])
R(pmos_1_12_3, GatPoly, [(0.34,-0.18,0.49,1.68), (0.34,-0.18,0.49,1.68)])
A(pmos_1_12_3, Cont, 0.07, 0.07, 0.16, 0.16, 1, 4, 0, 0.4)
A(pmos_1_12_3, Cont, 0.6, 0.07, 0.16, 0.16, 1, 4, 0, 0.4)
R(pmos_1_12_3, Metal1, [(0.07,0,0.23,1.5), (0.07,0,0.23,1.5), (0.6,0,0.76,1.5), (0.6,0,0.76,1.5)])
R(pmos_1_12_3, pSD, [(-0.18,-0.3,1.01,1.8)])
R(pmos_1_12_3, NWell, [(-0.31,-0.31,1.14,1.81)])
R(pmos_1_12_3, Substrate, [(0.53,0,0.83,0.3)])
R(pmos_1_12_3, HeatTrans, [(0.34,-0.18,0.49,1.68)])
pmos_1_12_3.add(gdstk.Label('pmos', (0.415,0.75), layer=63, texttype=0))
pmos_1_12_3.add(gdstk.Label('pmos', (0.415,0.75), layer=51, texttype=0))

inverter_3_3 = lib.new_cell('inverter$3$3')
R(inverter_3_3, GatPoly, [(-0.075,-1.72,0.075,0.805)])
R(inverter_3_3, GatPoly_2, [(-0.075,-0.425,0.075,-0.26)])
R(inverter_3_3, Cont, [(-0.08,-2.685,0.08,-2.525), (-0.08,2.315,0.08,2.475)])
R(inverter_3_3, Metal1, [(-0.345,-2.685,-0.185,-1.72), (0.185,-1.72,0.345,0.805), (-0.345,1.37,-0.185,2.475)])
R(inverter_3_3, Metal1_pin, [(-0.08,-2.685,0.08,-2.525), (0.185,-1.035,0.345,-0.875), (-0.08,2.315,0.08,2.475)])
inverter_3_3.add(gdstk.Reference(m1_bulkcont1_pmos_6_3, (0.01,2.415)))
inverter_3_3.add(gdstk.Reference(m1_bulkcont1_nmos_6_3, (-0.015,-2.61)))
inverter_3_3.add(gdstk.Reference(nmos_6_3, (-0.415,-2.095)))
inverter_3_3.add(gdstk.Reference(pmos_1_12_3, (-0.415,0.175)))
inverter_3_3.add(gdstk.Label('vdd', (-0.015,2.39), layer=8, texttype=2))
inverter_3_3.add(gdstk.Label('vss', (-0.01,-2.62), layer=8, texttype=2))
inverter_3_3.add(gdstk.Label('out', (0.27,-0.95), layer=8, texttype=2))
inverter_3_3.add(gdstk.Label('in', (-0.025,-0.34), layer=5, texttype=2))

dff_3 = lib.new_cell('dff$3')
R(dff_3, Activ, [(5.71,-2.775,8.63,-2.435), (8.39,2.225,8.63,2.565)])
R(dff_3, GatPoly, [(6.25,-2.315,7.72,-2.165), (-0.325,-2.01,-0.025,-1.71), (5.505,-1.925,5.805,-1.625), (10.405,-1.925,10.705,-1.625), (-0.325,-1.515,-0.025,-1.215), (8.185,-1.515,8.485,-1.215), (13.085,-1.515,13.385,-1.215), (5.06,-1.365,5.73,-1.215), (9.96,-1.365,10.63,-1.215), (-0.325,-1.275,1.89,-1.125), (7.92,-1.275,8.485,-1.125), (12.49,-1.275,13.33,-1.125), (3.71,-1.255,4.53,-1.105), (8.665,-1.255,9.43,-1.105), (10.85,-1.165,11.15,-0.865), (10.85,-1.165,11.15,-0.865), (7.92,-1.125,8.07,-0.75), (6.83,-1.12,7.16,-0.79), (3.71,-1.105,3.86,-0.695), (8.665,-1.105,8.815,-0.695), (0.75,-0.945,1.05,-0.645), (13.09,-0.945,13.39,-0.645), (7.59,-0.9,7.74,-0.005), (7.59,-0.9,7.92,-0.75), (3.635,-0.695,3.935,-0.395), (8.515,-0.695,8.815,-0.395), (2.335,-0.285,2.635,0.015), (6.25,1.745,7.72,1.895)])
R(dff_3, GatPoly_2, [(11.58,-0.2,11.71,-0.07), (11.835,0.565,11.965,0.695)])
R(dff_3, Cont, [(5.575,-1.855,5.735,-1.695), (10.475,-1.855,10.635,-1.695), (-0.255,-1.445,-0.095,-1.285), (8.255,-1.445,8.415,-1.285), (13.155,-1.445,13.315,-1.285), (10.92,-1.095,11.08,-0.935), (6.915,-1.035,7.075,-0.875), (0.82,-0.875,0.98,-0.715), (13.16,-0.875,13.32,-0.715), (3.705,-0.625,3.865,-0.465), (8.585,-0.625,8.745,-0.465), (2.405,-0.215,2.565,-0.055), (6.735,-0.215,6.895,-0.055)])
R(dff_3, Metal1, [(8.39,-2.685,8.63,-2.525), (-0.32,-2.015,-0.03,-1.7), (5.51,-1.925,5.8,-1.61), (10.41,-1.925,10.7,-1.61), (8.19,-1.525,8.48,-1.21), (13.09,-1.525,13.38,-1.21), (-0.32,-1.52,-0.03,-1.205), (5.17,-1.255,6.14,-1.095), (6.85,-1.14,7.14,-0.825), (10.41,-1.095,11.15,-0.935), (13.095,-0.95,13.385,-0.635), (0.755,-0.94,1.045,-0.65), (3.32,-0.675,3.705,-0.415), (3.64,-0.675,3.93,-0.415), (7.85,-0.675,8.54,-0.415), (8.52,-0.675,8.81,-0.415), (1.34,-0.525,1.63,-0.235), (2.16,-0.265,2.34,-0.005), (2.34,-0.265,2.63,-0.005), (11.41,0.245,12.36,0.405), (8.39,2.315,8.63,2.475)])
R(dff_3, Metal1_pin, [(8.39,-2.685,8.63,-2.525), (11.43,-0.815,11.55,-0.685), (8.39,2.315,8.63,2.475)])
R(dff_3, Metal2, [(-0.32,-1.875,13.38,-1.675), (-0.06,-1.465,13.13,-1.265), (0.755,-1.055,13.385,-0.855)])
R(dff_3, Metal2_pin, [(-0.24,-1.925,-0.11,-1.795), (13.175,-1.845,13.305,-1.715), (13.17,-1.435,13.3,-1.305), (-0.24,-1.43,-0.11,-1.3), (0,-0.445,0.13,-0.315)])
R(dff_3, pSD, [(8.39,-2.805,8.63,-2.405), (10.48,-0.135,11.97,1.975), (1.09,-0.125,7.07,1.975)])
R(dff_3, NWell, [(8.39,-0.135,8.63,2.805)])
dff_3.add(gdstk.FlexPath([(10.23,-1.175),(10.57,-1.175)], 0.16, ends="flush", simple_path=True, layer=8, datatype=0))  # Metal1
dff_3.add(gdstk.FlexPath([(1.815,0.175),(1.815,-0.87),(0.94,-0.87)], 0.15, ends="flush", simple_path=True, layer=5, datatype=0))  # GatPoly
dff_3.add(gdstk.FlexPath([(11.9,0.725),(11.9,-0.21)], 0.15, ends="flush", simple_path=True, layer=5, datatype=0))  # GatPoly
dff_3.add(gdstk.FlexPath([(11.975,-0.135),(11.15,-0.135)], 0.15, ends="flush", simple_path=True, layer=5, datatype=0))  # GatPoly
dff_3.add(gdstk.FlexPath([(6.25,-1.165),(6.905,-1.165),(6.905,-1.05)], 0.15, ends="flush", simple_path=True, layer=5, datatype=0))  # GatPoly
dff_3.add(gdstk.FlexPath([(5.655,-1.87),(5.655,-1.365)], 0.15, ends="flush", simple_path=True, layer=5, datatype=0))  # GatPoly
dff_3.add(gdstk.FlexPath([(10.555,-1.87),(10.555,-1.365)], 0.15, ends="flush", simple_path=True, layer=5, datatype=0))  # GatPoly
dff_3.add(gdstk.FlexPath([(13.24,-0.755),(13.24,-0.275),(12.565,-0.275),(12.565,0.175)], 0.15, ends="flush", simple_path=True, layer=5, datatype=0))  # GatPoly
dff_3.add(gdstk.FlexPath([(2.55,-0.135),(3.21,-0.135),(3.21,-0.135)], 0.15, ends="flush", simple_path=True, layer=5, datatype=0))  # GatPoly
dff_3.add(gdstk.FlexPath([(-0.21,-0.38),(1.63,-0.38)], 0.2, ends="flush", simple_path=True, layer=10, datatype=0))  # Metal2
dff_3.add(gdstk.FlexPath([(8.605,-0.545),(12.73,-0.545)], 0.2, ends="flush", simple_path=True, layer=10, datatype=0))  # Metal2
dff_3.add(gdstk.FlexPath([(3.785,-0.545),(7.295,-0.545),(7.46,-0.545)], 0.2, ends="flush", simple_path=True, layer=10, datatype=0))  # Metal2
dff_3.add(gdstk.FlexPath([(6.895,-0.135),(2.615,-0.135)], 0.2, ends="flush", simple_path=True, layer=10, datatype=0))  # Metal2
dff_3.add(gdstk.Reference(nor_4, (4.72,0)))
dff_3.add(gdstk.Reference(via_stack_1_1_3, (3.785,-0.545)))
dff_3.add(gdstk.Reference(inverter_1_1_3, (3.135,0)))
dff_3.add(gdstk.Reference(transmissiongate_6, (1.94,0)))
dff_3.add(gdstk.Reference(transmissiongate_1_3, (7.79,0)))
dff_3.add(gdstk.Reference(transmissiongate_2_3, (6.45,0)))
dff_3.add(gdstk.Reference(via_stack_1_1_3, (6.815,-0.135)))
dff_3.add(gdstk.Reference(via_stack_1_1_3, (2.485,-0.135)))
dff_3.add(gdstk.Reference(via_stack_1_1_3, (7.335,-0.545)))
dff_3.add(gdstk.Reference(nor_1_3, (9.62,0)))
dff_3.add(gdstk.Reference(via_stack_1_1_3, (8.665,-0.545)))
dff_3.add(gdstk.Reference(inverter_2_1_3, (11.225,0)))
dff_3.add(gdstk.Reference(transmissiongate_3_3, (12.69,0)))
dff_3.add(gdstk.Reference(via_stack_1_1_3, (12.765,-0.545)))
dff_3.add(gdstk.Reference(via_stack_1_1_3, (5.655,-1.775)))
dff_3.add(gdstk.Reference(via_stack_1_1_3, (10.555,-1.775)))
dff_3.add(gdstk.Reference(via_stack_1_1_3, (8.335,-1.365)))
dff_3.add(gdstk.Reference(via_stack_1_1_3, (6.995,-0.955)))
dff_3.add(gdstk.Reference(via_stack_1_1_3, (0.9,-0.795), rotation=pi, x_reflection=True))
dff_3.add(gdstk.Reference(via_stack_1_1_3, (-0.175,-1.855)))
dff_3.add(gdstk.Reference(via_stack_1_1_3, (13.24,-0.85)))
dff_3.add(gdstk.Reference(via_stack_1_1_3, (13.235,-1.365)))
dff_3.add(gdstk.Reference(via_stack_1_1_3, (-0.175,-1.365), rotation=pi, x_reflection=True))
dff_3.add(gdstk.Reference(inverter_3_3, (0.495,0)))
dff_3.add(gdstk.Reference(via_stack_1_1_3, (1.485,-0.38), rotation=pi, x_reflection=True))
dff_3.add(gdstk.Label('vdd', (1.4,2.38), layer=8, texttype=2))
dff_3.add(gdstk.Label('vss', (1.37,-2.61), layer=8, texttype=2))
dff_3.add(gdstk.Label('qb', (11.48,-0.75), layer=8, texttype=2))
dff_3.add(gdstk.Label('clr', (13.24,-1.78), layer=10, texttype=25))
dff_3.add(gdstk.Label('d', (0.065,-0.38), layer=10, texttype=25))
dff_3.add(gdstk.Label('clr', (-0.175,-1.86), layer=10, texttype=25))
dff_3.add(gdstk.Label('clk', (-0.175,-1.365), layer=10, texttype=25))
dff_3.add(gdstk.Label('clk', (13.235,-1.37), layer=10, texttype=25))
dff_3.add(gdstk.Label('q', (11.9,0.63), layer=5, texttype=1))
dff_3.add(gdstk.Label('q', (11.645,-0.135), layer=5, texttype=1))

lib.write_gds('dff_3.gds')
